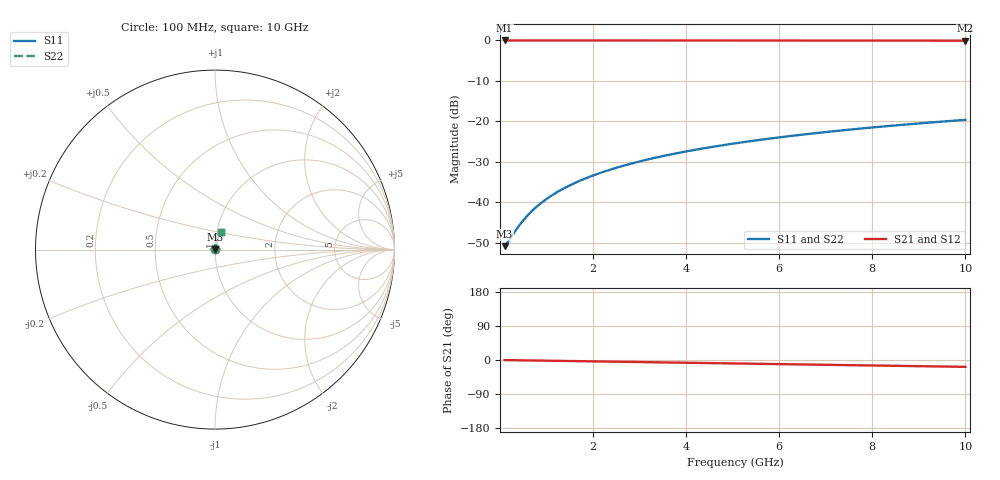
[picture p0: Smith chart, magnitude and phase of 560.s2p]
# Hz S RI R 50.00
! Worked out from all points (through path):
!   100 points, 100 MHz to 10 GHz, reference 50 ohm
!   highest |S21| = -0.02 dB at 100 MHz (marker M1); lowest = -0.1 dB at 10 GHz (marker M2)
!   group delay of S21, straight-line fit = 5.02 ps
!   lowest |S11| = -50.9 dB at 100 MHz (marker M3), VSWR 1.01, Z = 50.3 + j0.106 ohm
!   |S11| at or under -10 dB: start of sweep to end of sweep
!   |S22| runs from -50.9 to -19.7 dB; largest |S21 - S12| = 0
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1e8  0.00265 0.00105  0.9973 -0.00315  0.9973 -0.00315  0.00265 0.00105
2e8  0.00268 0.0021  0.9973 -0.00629  0.9973 -0.00629  0.00268 0.0021
4e8  0.00274 0.0042  0.9972 -0.0126  0.9972 -0.0126  0.00274 0.0042
5e8  0.00278 0.00525  0.9972 -0.0157  0.9972 -0.0157  0.00278 0.00525
6e8  0.00282 0.0063  0.9971 -0.0189  0.9971 -0.0189  0.00282 0.0063
7e8  0.00287 0.00734  0.997 -0.022  0.997 -0.022  0.00287 0.00734
8e8  0.00292 0.00839  0.9969 -0.0252  0.9969 -0.0252  0.00292 0.00839
1e9  0.00305 0.0105  0.9967 -0.0314  0.9967 -0.0314  0.00305 0.0105
1.2e9  0.00321 0.0126  0.9964 -0.0377  0.9964 -0.0377  0.00321 0.0126
1.5e9  0.00349 0.0157  0.996 -0.0472  0.996 -0.0472  0.00349 0.0157
1.8e9  0.00383 0.0188  0.9954 -0.0566  0.9954 -0.0566  0.00383 0.0188
2.1e9  0.00422 0.022  0.9948 -0.066  0.9948 -0.066  0.00422 0.022
2.5e9  0.00484 0.0261  0.9937 -0.0785  0.9937 -0.0785  0.00484 0.0261
2.9e9  0.00556 0.0303  0.9925 -0.0911  0.9925 -0.0911  0.00556 0.0303
3.4e9  0.00661 0.0354  0.9908 -0.1067  0.9908 -0.1067  0.00661 0.0354
4.2e9  0.00862 0.0435  0.9874 -0.1316  0.9874 -0.1316  0.00862 0.0435
5.1e9  0.0114 0.0525  0.9828 -0.1595  0.9828 -0.1595  0.0114 0.0525
5.9e9  0.0142 0.0604  0.9779 -0.1842  0.9779 -0.1842  0.0142 0.0604
6.7e9  0.0175 0.0681  0.9724 -0.2087  0.9724 -0.2087  0.0175 0.0681
7.5e9  0.0212 0.0757  0.9662 -0.2331  0.9662 -0.2331  0.0212 0.0757
8.4e9  0.0257 0.0839  0.9584 -0.2602  0.9584 -0.2602  0.0257 0.0839
1e10  0.0349 0.0979  0.9426 -0.3077  0.9426 -0.3077  0.0349 0.0979
